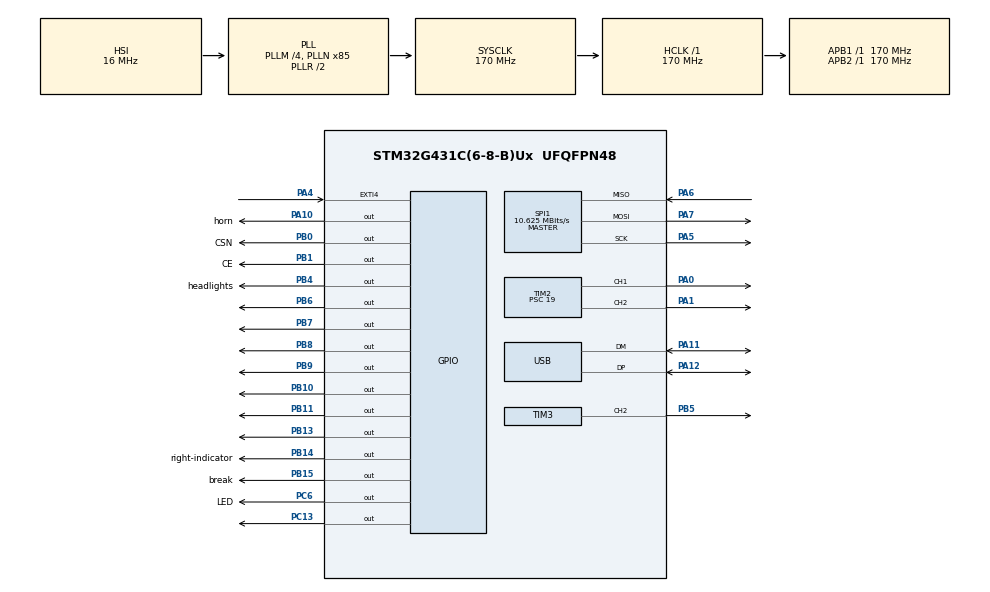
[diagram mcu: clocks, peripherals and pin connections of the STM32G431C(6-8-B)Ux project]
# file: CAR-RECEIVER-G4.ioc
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Mcu.Family=STM32G4
Mcu.Name=STM32G431C(6-8-B)Ux
Mcu.Package=UFQFPN48
NVIC.EXTI4_IRQn=true\:0\:0\:false\:false\:true\:true\:true\:true
NVIC.PriorityGroup=NVIC_PRIORITYGROUP_4
NVIC.SPI1_IRQn=true\:0\:0\:false\:false\:true\:true\:true\:true
NVIC.TIM2_IRQn=true\:0\:0\:false\:false\:true\:true\:true\:true
NVIC.TIM3_IRQn=true\:0\:0\:false\:false\:true\:true\:true\:true
NVIC.USB_LP_IRQn=true\:0\:0\:false\:false\:true\:false\:true\:true
PA0.Signal=S_TIM2_CH1
PA1.Signal=S_TIM2_CH2
PA10.GPIO_Label=horn
PA10.Signal=GPIO_Output
PA11.Mode=Device
PA11.Signal=USB_DM
PA12.Mode=Device
PA12.Signal=USB_DP
PA13.Mode=Trace_Asynchronous_SW
PA13.Signal=SYS_JTMS-SWDIO
PA14.Mode=Trace_Asynchronous_SW
PA14.Signal=SYS_JTCK-SWCLK
PA4.Signal=GPXTI4
PA5.Mode=Full_Duplex_Master
PA5.Signal=SPI1_SCK
PA6.Mode=Full_Duplex_Master
PA6.Signal=SPI1_MISO
PA7.Mode=Full_Duplex_Master
PA7.Signal=SPI1_MOSI
PB0.GPIO_Label=CSN
PB0.GPIO_Speed=GPIO_SPEED_FREQ_HIGH
PB0.Signal=GPIO_Output
PB1.GPIO_Label=CE
PB1.GPIO_Speed=GPIO_SPEED_FREQ_HIGH
PB1.Signal=GPIO_Output
PB10.Signal=GPIO_Output
PB11.Signal=GPIO_Output
PB13.Signal=GPIO_Output
PB14.GPIO_Label=right-indicator
PB14.Signal=GPIO_Output
PB15.GPIO_Label=break
PB15.Signal=GPIO_Output
PB3.Mode=Trace_Asynchronous_SW
PB3.Signal=SYS_JTDO-SWO
PB4.GPIO_Label=headlights
PB4.Signal=GPIO_Output
PB5.Signal=S_TIM3_CH2
PB6.Signal=GPIO_Output
PB7.Signal=GPIO_Output
PB8-BOOT0.Signal=GPIO_Output
PB9.Signal=GPIO_Output
PC13.Signal=GPIO_Output
PC14-OSC32_IN.Mode=LSE-External-Oscillator
PC14-OSC32_IN.Signal=RCC_OSC32_IN
PC15-OSC32_OUT.Mode=LSE-External-Oscillator
PC15-OSC32_OUT.Signal=RCC_OSC32_OUT
PC6.GPIO_Label=LED
PC6.Signal=GPIO_Output
PF0-OSC_IN.Mode=HSE-External-Oscillator
PF0-OSC_IN.Signal=RCC_OSC_IN
PF1-OSC_OUT.Mode=HSE-External-Oscillator
PF1-OSC_OUT.Signal=RCC_OSC_OUT
ProjectManager.HeapSize=0x200
ProjectManager.StackSize=0x400
ProjectManager.TargetToolchain=STM32CubeIDE
RCC.ADC12Freq_Value=170000000
RCC.AHBFreq_Value=170000000
RCC.APB1Freq_Value=170000000
RCC.APB1TimFreq_Value=170000000
RCC.APB2Freq_Value=170000000
RCC.APB2TimFreq_Value=170000000
RCC.CK48CLockSelection=RCC_USBCLKSOURCE_HSI48
RCC.CortexFreq_Value=170000000
RCC.EXTERNAL_CLOCK_VALUE=12288000
RCC.HCLKFreq_Value=170000000
RCC.HSE_VALUE=8000000
RCC.HSI48_VALUE=48000000
RCC.HSI_VALUE=16000000
RCC.PLLM=RCC_PLLM_DIV4
RCC.PLLN=85
RCC.PLLP=RCC_PLLP_DIV8
RCC.PLLQ=RCC_PLLQ_DIV8
RCC.SYSCLKFreq_VALUE=170000000
RCC.SYSCLKSource=RCC_SYSCLKSOURCE_PLLCLK
RCC.USBFreq_Value=48000000
RCC.VCOOutputFreq_Value=340000000
SH.S_TIM2_CH1.0=TIM2_CH1,PWM Generation1 CH1
SH.S_TIM2_CH2.0=TIM2_CH2,PWM Generation2 CH2
SH.S_TIM3_CH2.0=TIM3_CH2,PWM Generation2 CH2
SPI1.BaudRatePrescaler=SPI_BAUDRATEPRESCALER_16
SPI1.CalculateBaudRate=10.625 MBits/s
SPI1.DataSize=SPI_DATASIZE_8BIT
SPI1.Direction=SPI_DIRECTION_2LINES
SPI1.Mode=SPI_MODE_MASTER
SPI1.VirtualType=VM_MASTER
STMicroelectronics.X-CUBE-AI.10.2.0.HeapSize=0x800
STMicroelectronics.X-CUBE-AI.10.2.0.ReadyForCodeGeneration=false
STMicroelectronics.X-CUBE-AI.10.2.0.StackSize=0x800
TIM1.Prescaler=19
TIM2.Channel-PWM\ Generation1\ CH1=TIM_CHANNEL_1
TIM2.Channel-PWM\ Generation2\ CH2=TIM_CHANNEL_2
TIM2.Prescaler=19
TIM3.Channel-PWM\ Generation2\ CH2=TIM_CHANNEL_2
TIM3.Prescaler=19
USB_DEVICE.CLASS_NAME_FS=CDC
USB_DEVICE.USBD_DEBUG_LEVEL=3
USB_DEVICE.VirtualMode=Cdc
USB_DEVICE.VirtualModeFS=Cdc_FS
VP_SYS_VS_DBSignals.Mode=DisableDeadBatterySignals
VP_TIM1_VS_ClockSourceINT.Mode=Internal
VP_TIM3_VS_ClockSourceINT.Mode=Internal
VP_USB_DEVICE_VS_USB_DEVICE_CDC_FS.Mode=CDC_FS
board=custom

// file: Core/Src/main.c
/* USER CODE BEGIN Header */
/**
  ******************************************************************************
  * @file           : main.c
  * @brief          : Main program body
  ******************************************************************************
  * @attention
  *
  * Copyright (c) 2025 STMicroelectronics.
  * All rights reserved.
  *
  * This software is licensed under terms that can be found in the LICENSE file
  * in the root directory of this software component.
  * If no LICENSE file comes with this software, it is provided AS-IS.
  *
  ******************************************************************************
  */
/* USER CODE END Header */
#include "main.h"
#include "usb_device.h"

/* USER CODE BEGIN Includes */
#include <string.h>
#include "NRF24_conf.h"
#include "NRF24.h"
#include "NRF24_reg_addresses.h"
#include "motor.h"

/* USER CODE END Includes */

/* USER CODE BEGIN PTD */
typedef struct
{
    uint16_t cmd;

    uint16_t joyX;
    uint16_t joyY;

    uint16_t pot1;
    uint16_t pot2;

} ControlPacket;
/* USER CODE END PTD */

SPI_HandleTypeDef hspi1;

TIM_HandleTypeDef htim1;
TIM_HandleTypeDef htim2;
TIM_HandleTypeDef htim3;

/* USER CODE BEGIN PV */
ControlPacket rxPacket;

uint32_t lastPacketTime = 0;

#define PACKET_TIMEOUT 500
#define DEADZONE 200
#define POT_CENTER 1978
/* USER CODE END PV */

void SystemClock_Config(void);
static void MX_GPIO_Init(void);
static void MX_SPI1_Init(void);
static void MX_TIM3_Init(void);
static void MX_TIM1_Init(void);
static void MX_TIM2_Init(void);
/* USER CODE BEGIN PFP */
void ProcessControl(ControlPacket *pkt);
void ProcessButtons(uint16_t buttons);
/* USER CODE END PFP */

/* USER CODE BEGIN 0 */
#define PLD_S 32

uint8_t tx_addr[5] = {0x45, 0x55, 0x67, 0x10, 0x21};

uint16_t data = 0;

uint8_t dataR[PLD_S];

/* USER CODE END 0 */

int main(void)
{

  /* MCU Configuration--------------------------------------------------------*/

  /* Reset of all peripherals, Initializes the Flash interface and the Systick. */
  HAL_Init();

  /* Configure the system clock */
  SystemClock_Config();

  /* Initialize all configured peripherals */
  MX_GPIO_Init();
  MX_SPI1_Init();
  MX_TIM3_Init();
  MX_USB_Device_Init();
  MX_TIM1_Init();
  MX_TIM2_Init();
  /* USER CODE BEGIN 2 */
  csn_high();
    ce_high();

    HAL_Delay(5);

    ce_low();

    nrf24_init();
    HAL_Delay(9);   // give time for oscillator to stabilize
    HAL_TIM_PWM_Start(&htim3, TIM_CHANNEL_2);
    HAL_TIM_PWM_Start(&htim2, TIM_CHANNEL_1);
    HAL_TIM_PWM_Start(&htim2, TIM_CHANNEL_2);

    nrf24_listen();

    nrf24_auto_ack_all(no_auto_ack);
    nrf24_en_ack_pld(disable);
    nrf24_dpl(disable);

    nrf24_set_crc(no_crc, _1byte);

    nrf24_tx_pwr(_0dbm);
    nrf24_data_rate(_1mbps);
    nrf24_set_channel(90);
    nrf24_set_addr_width(5);
    nrf24_set_rx_dpl(0, disable);
    nrf24_set_rx_dpl(1, disable);
    nrf24_set_rx_dpl(2, disable);
    nrf24_set_rx_dpl(3, disable);
    nrf24_set_rx_dpl(4, disable);
    nrf24_set_rx_dpl(5, disable);

    nrf24_pipe_pld_size(0, PLD_S);

    nrf24_auto_retr_delay(4);
    nrf24_auto_retr_limit(10);

    nrf24_open_tx_pipe(tx_addr);
    nrf24_open_rx_pipe(0, tx_addr);
    ce_high();

    motor_init();

  /* USER CODE END 2 */

  /* Infinite loop */
  while (1)
  {

    /* USER CODE BEGIN 3 */
	  if(nrf24_data_available())
	  {
		  nrf24_receive((uint8_t*)&rxPacket, sizeof(ControlPacket));
	      HAL_GPIO_TogglePin(GPIOC, GPIO_PIN_6);
	      ProcessControl(&rxPacket);
	      nrf24_flush_rx();

	          }
	  if (HAL_GetTick() - lastPacketTime > PACKET_TIMEOUT)
	  {
		  motor_stop();
	  }
	  HAL_Delay(1);
  }
  /* USER CODE END 3 */
}

void SystemClock_Config(void)
{
  RCC_OscInitTypeDef RCC_OscInitStruct = {0};
  RCC_ClkInitTypeDef RCC_ClkInitStruct = {0};

  /** Configure the main internal regulator output voltage
  */
  HAL_PWREx_ControlVoltageScaling(PWR_REGULATOR_VOLTAGE_SCALE1_BOOST);

  /** Initializes the RCC Oscillators according to the specified parameters
  * in the RCC_OscInitTypeDef structure.
  */
  RCC_OscInitStruct.OscillatorType = RCC_OSCILLATORTYPE_HSI|RCC_OSCILLATORTYPE_HSI48;
  RCC_OscInitStruct.HSIState = RCC_HSI_ON;
  RCC_OscInitStruct.HSICalibrationValue = RCC_HSICALIBRATION_DEFAULT;
  RCC_OscInitStruct.HSI48State = RCC_HSI48_ON;
  RCC_OscInitStruct.PLL.PLLState = RCC_PLL_ON;
  RCC_OscInitStruct.PLL.PLLSource = RCC_PLLSOURCE_HSI;
  RCC_OscInitStruct.PLL.PLLM = RCC_PLLM_DIV4;
  RCC_OscInitStruct.PLL.PLLN = 85;
  RCC_OscInitStruct.PLL.PLLP = RCC_PLLP_DIV8;
  RCC_OscInitStruct.PLL.PLLQ = RCC_PLLQ_DIV8;
  RCC_OscInitStruct.PLL.PLLR = RCC_PLLR_DIV2;
  if (HAL_RCC_OscConfig(&RCC_OscInitStruct) != HAL_OK)
  {
    Error_Handler();
  }

  /** Initializes the CPU, AHB and APB buses clocks
  */
  RCC_ClkInitStruct.ClockType = RCC_CLOCKTYPE_HCLK|RCC_CLOCKTYPE_SYSCLK
                              |RCC_CLOCKTYPE_PCLK1|RCC_CLOCKTYPE_PCLK2;
  RCC_ClkInitStruct.SYSCLKSource = RCC_SYSCLKSOURCE_PLLCLK;
  RCC_ClkInitStruct.AHBCLKDivider = RCC_SYSCLK_DIV1;
  RCC_ClkInitStruct.APB1CLKDivider = RCC_HCLK_DIV1;
  RCC_ClkInitStruct.APB2CLKDivider = RCC_HCLK_DIV1;

  if (HAL_RCC_ClockConfig(&RCC_ClkInitStruct, FLASH_LATENCY_4) != HAL_OK)
  {
    Error_Handler();
  }
}

static void MX_SPI1_Init(void)
{

  /* SPI1 parameter configuration*/
  hspi1.Instance = SPI1;
  hspi1.Init.Mode = SPI_MODE_MASTER;
  hspi1.Init.Direction = SPI_DIRECTION_2LINES;
  hspi1.Init.DataSize = SPI_DATASIZE_8BIT;
  hspi1.Init.CLKPolarity = SPI_POLARITY_LOW;
  hspi1.Init.CLKPhase = SPI_PHASE_1EDGE;
  hspi1.Init.NSS = SPI_NSS_SOFT;
  hspi1.Init.BaudRatePrescaler = SPI_BAUDRATEPRESCALER_16;
  hspi1.Init.FirstBit = SPI_FIRSTBIT_MSB;
  hspi1.Init.TIMode = SPI_TIMODE_DISABLE;
  hspi1.Init.CRCCalculation = SPI_CRCCALCULATION_DISABLE;
  hspi1.Init.CRCPolynomial = 7;
  hspi1.Init.CRCLength = SPI_CRC_LENGTH_DATASIZE;
  hspi1.Init.NSSPMode = SPI_NSS_PULSE_ENABLE;
  if (HAL_SPI_Init(&hspi1) != HAL_OK)
  {
    Error_Handler();
  }

}

static void MX_TIM1_Init(void)
{

  TIM_ClockConfigTypeDef sClockSourceConfig = {0};
  TIM_MasterConfigTypeDef sMasterConfig = {0};

  htim1.Instance = TIM1;
  htim1.Init.Prescaler = 19;
  htim1.Init.CounterMode = TIM_COUNTERMODE_UP;
  htim1.Init.Period = 65535;
  htim1.Init.ClockDivision = TIM_CLOCKDIVISION_DIV1;
  htim1.Init.RepetitionCounter = 0;
  htim1.Init.AutoReloadPreload = TIM_AUTORELOAD_PRELOAD_DISABLE;
  if (HAL_TIM_Base_Init(&htim1) != HAL_OK)
  {
    Error_Handler();
  }
  sClockSourceConfig.ClockSource = TIM_CLOCKSOURCE_INTERNAL;
  if (HAL_TIM_ConfigClockSource(&htim1, &sClockSourceConfig) != HAL_OK)
  {
    Error_Handler();
  }
  sMasterConfig.MasterOutputTrigger = TIM_TRGO_RESET;
  sMasterConfig.MasterOutputTrigger2 = TIM_TRGO2_RESET;
  sMasterConfig.MasterSlaveMode = TIM_MASTERSLAVEMODE_DISABLE;
  if (HAL_TIMEx_MasterConfigSynchronization(&htim1, &sMasterConfig) != HAL_OK)
  {
    Error_Handler();
  }

}

static void MX_TIM2_Init(void)
{

  TIM_MasterConfigTypeDef sMasterConfig = {0};
  TIM_OC_InitTypeDef sConfigOC = {0};

  htim2.Instance = TIM2;
  htim2.Init.Prescaler = 19;
  htim2.Init.CounterMode = TIM_COUNTERMODE_UP;
  htim2.Init.Period = 4294967295;
  htim2.Init.ClockDivision = TIM_CLOCKDIVISION_DIV1;
  htim2.Init.AutoReloadPreload = TIM_AUTORELOAD_PRELOAD_DISABLE;
  if (HAL_TIM_PWM_Init(&htim2) != HAL_OK)
  {
    Error_Handler();
  }
  sMasterConfig.MasterOutputTrigger = TIM_TRGO_RESET;
  sMasterConfig.MasterSlaveMode = TIM_MASTERSLAVEMODE_DISABLE;
  if (HAL_TIMEx_MasterConfigSynchronization(&htim2, &sMasterConfig) != HAL_OK)
  {
    Error_Handler();
  }
  sConfigOC.OCMode = TIM_OCMODE_PWM1;
  sConfigOC.Pulse = 0;
  sConfigOC.OCPolarity = TIM_OCPOLARITY_HIGH;
  sConfigOC.OCFastMode = TIM_OCFAST_DISABLE;
  if (HAL_TIM_PWM_ConfigChannel(&htim2, &sConfigOC, TIM_CHANNEL_1) != HAL_OK)
  {
    Error_Handler();
  }
  if (HAL_TIM_PWM_ConfigChannel(&htim2, &sConfigOC, TIM_CHANNEL_2) != HAL_OK)
  {
    Error_Handler();
  }
  HAL_TIM_MspPostInit(&htim2);

}

static void MX_TIM3_Init(void)
{

  TIM_ClockConfigTypeDef sClockSourceConfig = {0};
  TIM_MasterConfigTypeDef sMasterConfig = {0};
  TIM_OC_InitTypeDef sConfigOC = {0};

  htim3.Instance = TIM3;
  htim3.Init.Prescaler = 19;
  htim3.Init.CounterMode = TIM_COUNTERMODE_UP;
  htim3.Init.Period = 65535;
  htim3.Init.ClockDivision = TIM_CLOCKDIVISION_DIV1;
  htim3.Init.AutoReloadPreload = TIM_AUTORELOAD_PRELOAD_DISABLE;
  if (HAL_TIM_Base_Init(&htim3) != HAL_OK)
  {
    Error_Handler();
  }
  sClockSourceConfig.ClockSource = TIM_CLOCKSOURCE_INTERNAL;
  if (HAL_TIM_ConfigClockSource(&htim3, &sClockSourceConfig) != HAL_OK)
  {
    Error_Handler();
  }
  if (HAL_TIM_PWM_Init(&htim3) != HAL_OK)
  {
    Error_Handler();
  }
  sMasterConfig.MasterOutputTrigger = TIM_TRGO_RESET;
  sMasterConfig.MasterSlaveMode = TIM_MASTERSLAVEMODE_DISABLE;
  if (HAL_TIMEx_MasterConfigSynchronization(&htim3, &sMasterConfig) != HAL_OK)
  {
    Error_Handler();
  }
  sConfigOC.OCMode = TIM_OCMODE_PWM1;
  sConfigOC.Pulse = 0;
  sConfigOC.OCPolarity = TIM_OCPOLARITY_HIGH;
  sConfigOC.OCFastMode = TIM_OCFAST_DISABLE;
  if (HAL_TIM_PWM_ConfigChannel(&htim3, &sConfigOC, TIM_CHANNEL_2) != HAL_OK)
  {
    Error_Handler();
  }
  HAL_TIM_MspPostInit(&htim3);

}

static void MX_GPIO_Init(void)
{
  GPIO_InitTypeDef GPIO_InitStruct = {0};

  /* GPIO Ports Clock Enable */
  __HAL_RCC_GPIOC_CLK_ENABLE();
  __HAL_RCC_GPIOF_CLK_ENABLE();
  __HAL_RCC_GPIOA_CLK_ENABLE();
  __HAL_RCC_GPIOB_CLK_ENABLE();

  /*Configure GPIO pin Output Level */
  HAL_GPIO_WritePin(GPIOC, GPIO_PIN_13|LED_Pin, GPIO_PIN_RESET);

  /*Configure GPIO pin Output Level */
  HAL_GPIO_WritePin(GPIOB, CSN_Pin|CE_Pin|GPIO_PIN_10|GPIO_PIN_11
                          |GPIO_PIN_13|right_indicator_Pin|break_Pin|headlights_Pin
                          |GPIO_PIN_6|GPIO_PIN_7|GPIO_PIN_8|GPIO_PIN_9, GPIO_PIN_RESET);

  /*Configure GPIO pin Output Level */
  HAL_GPIO_WritePin(horn_GPIO_Port, horn_Pin, GPIO_PIN_RESET);

  /*Configure GPIO pins : PC13 LED_Pin */
  GPIO_InitStruct.Pin = GPIO_PIN_13|LED_Pin;
  GPIO_InitStruct.Mode = GPIO_MODE_OUTPUT_PP;
  GPIO_InitStruct.Pull = GPIO_NOPULL;
  GPIO_InitStruct.Speed = GPIO_SPEED_FREQ_LOW;
  HAL_GPIO_Init(GPIOC, &GPIO_InitStruct);

  /*Configure GPIO pin : PA4 */
  GPIO_InitStruct.Pin = GPIO_PIN_4;
  GPIO_InitStruct.Mode = GPIO_MODE_IT_RISING;
  GPIO_InitStruct.Pull = GPIO_NOPULL;
  HAL_GPIO_Init(GPIOA, &GPIO_InitStruct);

  /*Configure GPIO pins : CSN_Pin CE_Pin */
  GPIO_InitStruct.Pin = CSN_Pin|CE_Pin;
  GPIO_InitStruct.Mode = GPIO_MODE_OUTPUT_PP;
  GPIO_InitStruct.Pull = GPIO_NOPULL;
  GPIO_InitStruct.Speed = GPIO_SPEED_FREQ_HIGH;
  HAL_GPIO_Init(GPIOB, &GPIO_InitStruct);

  /*Configure GPIO pins : PB10 PB11 PB13 right_indicator_Pin
                           break_Pin headlights_Pin PB6 PB7
                           PB8 PB9 */
  GPIO_InitStruct.Pin = GPIO_PIN_10|GPIO_PIN_11|GPIO_PIN_13|right_indicator_Pin
                          |break_Pin|headlights_Pin|GPIO_PIN_6|GPIO_PIN_7
                          |GPIO_PIN_8|GPIO_PIN_9;
  GPIO_InitStruct.Mode = GPIO_MODE_OUTPUT_PP;
  GPIO_InitStruct.Pull = GPIO_NOPULL;
  GPIO_InitStruct.Speed = GPIO_SPEED_FREQ_LOW;
  HAL_GPIO_Init(GPIOB, &GPIO_InitStruct);

  /*Configure GPIO pin : horn_Pin */
  GPIO_InitStruct.Pin = horn_Pin;
  GPIO_InitStruct.Mode = GPIO_MODE_OUTPUT_PP;
  GPIO_InitStruct.Pull = GPIO_NOPULL;
  GPIO_InitStruct.Speed = GPIO_SPEED_FREQ_LOW;
  HAL_GPIO_Init(horn_GPIO_Port, &GPIO_InitStruct);

  /* EXTI interrupt init*/

}

/* USER CODE BEGIN 4 */
void ProcessControl(ControlPacket *pkt)
{
    int16_t throttle = pkt->pot1 - POT_CENTER;

    if(throttle < DEADZONE && throttle > -DEADZONE)
        throttle = 0;

    if(throttle > 0)
        motor_forward(throttle);
    else if(throttle < 0)
        motor_backward(-throttle);
    else
        motor_stop();

    ProcessButtons(pkt->cmd);
}
void ProcessButtons(uint16_t buttons)
{
    switch(buttons)
    {
        case 1: // right indicator
            HAL_GPIO_TogglePin(GPIOB, GPIO_PIN_14);
            HAL_GPIO_WritePin(GPIOC, GPIO_PIN_13, GPIO_PIN_RESET);
            HAL_Delay(300);
            break;

        case 2: // left indicator
            HAL_GPIO_TogglePin(GPIOC, GPIO_PIN_13);
            HAL_GPIO_WritePin(GPIOB, GPIO_PIN_14, GPIO_PIN_RESET);
            HAL_Delay(300);
            break;

        case 3: // brake light
            HAL_GPIO_TogglePin(GPIOB, GPIO_PIN_15);
            HAL_Delay(300);
            break;

        case 4: //drive
            HAL_Delay(300);
            break;

        case 5:
        	HAL_GPIO_TogglePin(GPIOB, GPIO_PIN_4);
        	HAL_Delay(300);
            break;

        case 6://horn
        	HAL_GPIO_TogglePin(GPIOA, GPIO_PIN_10);
        	HAL_Delay(300);
            break;

        case 7:
            break;

        default:
            break;
    }
}
static void Steering_SetPWM(uint16_t speed, uint8_t dir)
{
    uint32_t arr = __HAL_TIM_GET_AUTORELOAD(&htim2);
    uint32_t duty = (speed * arr) / PWM_MAX;

    if(dir == 1) // left
    {
        __HAL_TIM_SET_COMPARE(&htim2, TIM_CHANNEL_1, duty);
        __HAL_TIM_SET_COMPARE(&htim2, TIM_CHANNEL_2, 0);
    }
    else if(dir == 2) // right
    {
        __HAL_TIM_SET_COMPARE(&htim2, TIM_CHANNEL_1, 0);
        __HAL_TIM_SET_COMPARE(&htim2, TIM_CHANNEL_2, duty);
    }
    else
    {
        __HAL_TIM_SET_COMPARE(&htim2, TIM_CHANNEL_1, 0);
        __HAL_TIM_SET_COMPARE(&htim2, TIM_CHANNEL_2, 0);
    }
}
/* USER CODE END 4 */

void Error_Handler(void)
{
  __disable_irq();
  while (1)
  {
  }
}
